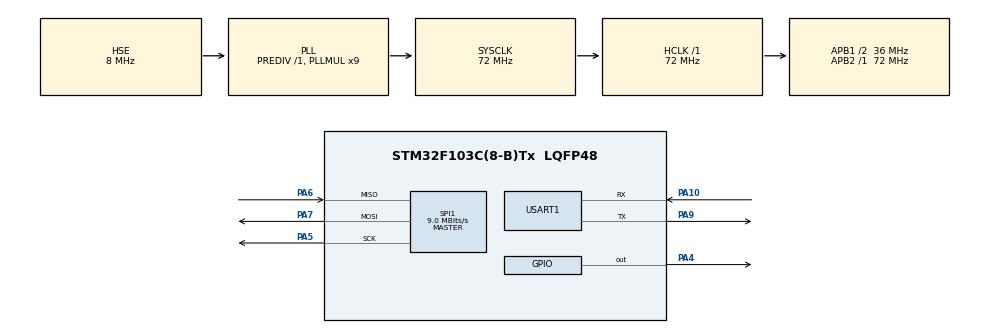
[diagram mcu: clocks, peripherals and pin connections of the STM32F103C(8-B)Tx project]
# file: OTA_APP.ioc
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Dma.Request0=USART1_RX
Dma.Request1=USART1_TX
Dma.USART1_RX.0.Direction=DMA_PERIPH_TO_MEMORY
Dma.USART1_RX.0.Instance=DMA1_Channel5
Dma.USART1_RX.0.MemDataAlignment=DMA_MDATAALIGN_BYTE
Dma.USART1_RX.0.MemInc=DMA_MINC_ENABLE
Dma.USART1_RX.0.Mode=DMA_NORMAL
Dma.USART1_RX.0.PeriphDataAlignment=DMA_PDATAALIGN_BYTE
Dma.USART1_RX.0.PeriphInc=DMA_PINC_DISABLE
Dma.USART1_RX.0.Priority=DMA_PRIORITY_LOW
Dma.USART1_TX.1.Direction=DMA_MEMORY_TO_PERIPH
Dma.USART1_TX.1.Instance=DMA1_Channel4
Dma.USART1_TX.1.MemDataAlignment=DMA_MDATAALIGN_BYTE
Dma.USART1_TX.1.MemInc=DMA_MINC_ENABLE
Dma.USART1_TX.1.Mode=DMA_NORMAL
Dma.USART1_TX.1.PeriphDataAlignment=DMA_PDATAALIGN_BYTE
Dma.USART1_TX.1.PeriphInc=DMA_PINC_DISABLE
Dma.USART1_TX.1.Priority=DMA_PRIORITY_LOW
Mcu.Family=STM32F1
Mcu.Name=STM32F103C(8-B)Tx
Mcu.Package=LQFP48
NVIC.DMA1_Channel4_IRQn=true\:0\:0\:false\:false\:true\:false\:true\:true
NVIC.DMA1_Channel5_IRQn=true\:0\:0\:false\:false\:true\:false\:true\:true
NVIC.PriorityGroup=NVIC_PRIORITYGROUP_4
NVIC.USART1_IRQn=true\:0\:0\:false\:false\:true\:true\:true\:true
PA10.Mode=Asynchronous
PA10.Signal=USART1_RX
PA13.Mode=Serial_Wire
PA13.Signal=SYS_JTMS-SWDIO
PA14.Mode=Serial_Wire
PA14.Signal=SYS_JTCK-SWCLK
PA4.PinState=GPIO_PIN_SET
PA4.Signal=GPIO_Output
PA5.Mode=Full_Duplex_Master
PA5.Signal=SPI1_SCK
PA6.Mode=Full_Duplex_Master
PA6.Signal=SPI1_MISO
PA7.Mode=Full_Duplex_Master
PA7.Signal=SPI1_MOSI
PA9.Mode=Asynchronous
PA9.Signal=USART1_TX
PD0-OSC_IN.Mode=HSE-External-Oscillator
PD0-OSC_IN.Signal=RCC_OSC_IN
PD1-OSC_OUT.Mode=HSE-External-Oscillator
PD1-OSC_OUT.Signal=RCC_OSC_OUT
ProjectManager.HeapSize=0x200
ProjectManager.StackSize=0x400
ProjectManager.TargetToolchain=MDK-ARM V5.32
RCC.AHBFreq_Value=72000000
RCC.APB1CLKDivider=RCC_HCLK_DIV2
RCC.APB1Freq_Value=36000000
RCC.APB1TimFreq_Value=72000000
RCC.APB2Freq_Value=72000000
RCC.APB2TimFreq_Value=72000000
RCC.HCLKFreq_Value=72000000
RCC.PLLMUL=RCC_PLL_MUL9
RCC.PLLSourceVirtual=RCC_PLLSOURCE_HSE
RCC.SYSCLKFreq_VALUE=72000000
RCC.SYSCLKSource=RCC_SYSCLKSOURCE_PLLCLK
RCC.USBFreq_Value=72000000
SPI1.BaudRatePrescaler=SPI_BAUDRATEPRESCALER_8
SPI1.CalculateBaudRate=9.0 MBits/s
SPI1.Direction=SPI_DIRECTION_2LINES
SPI1.Mode=SPI_MODE_MASTER
SPI1.VirtualType=VM_MASTER
USART1.VirtualMode=VM_ASYNC
board=custom

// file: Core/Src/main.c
/* USER CODE BEGIN Header */
/**
  ******************************************************************************
  * @file           : main.c
  * @brief          : Main program body
  ******************************************************************************
  * @attention
  *
  * Copyright (c) 2026 STMicroelectronics.
  * All rights reserved.
  *
  * This software is licensed under terms that can be found in the LICENSE file
  * in the root directory of this software component.
  * If no LICENSE file comes with this software, it is provided AS-IS.
  *
  ******************************************************************************
  */
/* USER CODE END Header */
#include "main.h"
#include "dma.h"
#include "spi.h"
#include "usart.h"
#include "gpio.h"

/* USER CODE BEGIN Includes */
#include "OLED.h"
#include "W25Q64.h"
#include "OTA_Manager.h"
//#include "MyCAN.h"
//#include "esp8266.h"
#include "esp8266_MQTT.h"
#include "OTA_Client.h"
// #include "MyWIFI.h"
/* USER CODE END Includes */

/* USER CODE BEGIN PD */
#define APP_START_ADDR 	0x08004000
#define txData  "Hello World\r\n"
/* USER CODE END PD */

void SystemClock_Config(void);

int main(void)
{

  /* USER CODE BEGIN 1 */
	__disable_irq();
	SCB->VTOR = APP_START_ADDR;
	__enable_irq();
  /* USER CODE END 1 */

  /* MCU Configuration--------------------------------------------------------*/

  /* Reset of all peripherals, Initializes the Flash interface and the Systick. */
  HAL_Init();

  /* Configure the system clock */
  SystemClock_Config();

  /* Initialize all configured peripherals */
  MX_GPIO_Init();
  MX_DMA_Init();
  MX_SPI1_Init();
  MX_USART1_UART_Init();
  /* USER CODE BEGIN 2 */
  W25Q64_Init();
  OLED_Init();
  OLED_Clear();
  OTA_Client_Init();

/*   //测试CAN
  MYCAN_Init();
  MYCAN_send(0x123,"hello",5);
  MYCAN_send(0x12,"hi",2);
  HAL_Delay(1000);
  MYCAN_rec mycan_rec[3] = {0};
  uint8_t num = 0;
  MYCAN_receive(mycan_rec,&num);
  for(int i = 0;i<num;i++)
  {
    OLED_Printf(0,(i+1)*16,OLED_8X16,"data:%s",mycan_rec[i].data);
    OLED_Update();
  } */
  //esp8266.c的接收流程
  // Start_Recv();
  // ESP_Connect_WIFI();
  // ESP_Connect_TCPServer(IP,PORT,1000);
  // ESP_SendToTCPServer(txData,1000);

   // 启动 WiFi 接收
    //ESP_Start_Receive();

    // 连接 WiFi 并进入透传模式
    //ESP_Connect_WIFI();
    //ESP_Connect_TCPServer(IP, PORT, 1000);

    //测试MQTT
    int r = ESP_MQTT_Init();
    OLED_Printf(0, 0, OLED_8X16, "MQTT init: %d", r);
    OLED_Update();

    //uint16_t i = 0;
  /* USER CODE END 2 */

  /* Infinite loop */
  /* USER CODE BEGIN WHILE */
  while (1)
  {

    // OLED_Printf(0,48,OLED_8X16,"V1.0");
    // OLED_Update();

    ESP_MQTT_ProcessReceive();
    /* 想主动发消息就调这个（字符串） */
    //ESP_MQTT_Publish(MQTT_PUB_TOPIC, "hello", 5);
    OTA_Client_Tick();   /* 主循环每帧调用一次，处理超时和收完后的校验 */
    /* 临时调试：显示当前状态和错误码 */
    OLED_ShowString(0,  48, "S:", OLED_6X8);
    OLED_ShowChar (16, 48, '0' + g_ota_state, OLED_6X8);
    OLED_ShowString(24, 48, "E:", OLED_6X8);
    OLED_ShowChar (40, 48, '0' + g_ota_err,   OLED_6X8);
    OLED_Update();
    HAL_Delay(1);
    /* USER CODE END WHILE */

  }
}

void SystemClock_Config(void)
{
  RCC_OscInitTypeDef RCC_OscInitStruct = {0};
  RCC_ClkInitTypeDef RCC_ClkInitStruct = {0};

  /** Initializes the RCC Oscillators according to the specified parameters
  * in the RCC_OscInitTypeDef structure.
  */
  RCC_OscInitStruct.OscillatorType = RCC_OSCILLATORTYPE_HSE;
  RCC_OscInitStruct.HSEState = RCC_HSE_ON;
  RCC_OscInitStruct.HSEPredivValue = RCC_HSE_PREDIV_DIV1;
  RCC_OscInitStruct.HSIState = RCC_HSI_ON;
  RCC_OscInitStruct.PLL.PLLState = RCC_PLL_ON;
  RCC_OscInitStruct.PLL.PLLSource = RCC_PLLSOURCE_HSE;
  RCC_OscInitStruct.PLL.PLLMUL = RCC_PLL_MUL9;
  if (HAL_RCC_OscConfig(&RCC_OscInitStruct) != HAL_OK)
  {
    Error_Handler();
  }

  /** Initializes the CPU, AHB and APB buses clocks
  */
  RCC_ClkInitStruct.ClockType = RCC_CLOCKTYPE_HCLK|RCC_CLOCKTYPE_SYSCLK
                              |RCC_CLOCKTYPE_PCLK1|RCC_CLOCKTYPE_PCLK2;
  RCC_ClkInitStruct.SYSCLKSource = RCC_SYSCLKSOURCE_PLLCLK;
  RCC_ClkInitStruct.AHBCLKDivider = RCC_SYSCLK_DIV1;
  RCC_ClkInitStruct.APB1CLKDivider = RCC_HCLK_DIV2;
  RCC_ClkInitStruct.APB2CLKDivider = RCC_HCLK_DIV1;

  if (HAL_RCC_ClockConfig(&RCC_ClkInitStruct, FLASH_LATENCY_2) != HAL_OK)
  {
    Error_Handler();
  }
}

void Error_Handler(void)
{
  __disable_irq();
  while (1)
  {
  }
}
